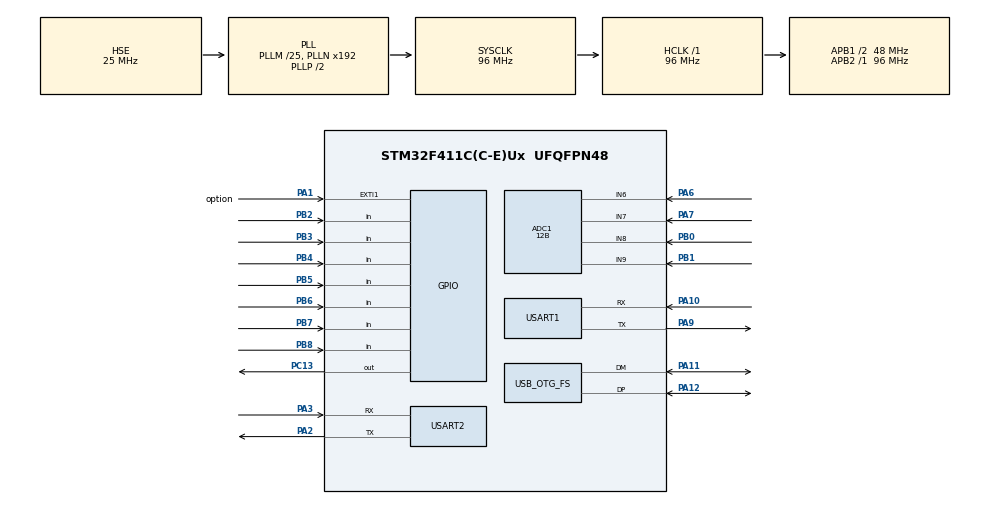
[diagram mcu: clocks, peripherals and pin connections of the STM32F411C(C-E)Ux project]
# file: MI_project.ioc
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ADC1.Channel-0\#ChannelRegularConversion=ADC_CHANNEL_9
ADC1.Channel-1\#ChannelRegularConversion=ADC_CHANNEL_8
ADC1.Channel-2\#ChannelRegularConversion=ADC_CHANNEL_6
ADC1.Channel-3\#ChannelRegularConversion=ADC_CHANNEL_7
ADC1.ContinuousConvMode=ENABLE
ADC1.DMAContinuousRequests=ENABLE
ADC1.EOCSelection=ADC_EOC_SEQ_CONV
ADC1.ExternalTrigConv=ADC_EXTERNALTRIGCONV_T3_TRGO
ADC1.NbrOfConversion=4
ADC1.NbrOfConversionFlag=1
ADC1.Rank-0\#ChannelRegularConversion=1
ADC1.Rank-1\#ChannelRegularConversion=2
ADC1.Rank-2\#ChannelRegularConversion=3
ADC1.Rank-3\#ChannelRegularConversion=4
ADC1.Resolution=ADC_RESOLUTION_12B
ADC1.SamplingTime-0\#ChannelRegularConversion=ADC_SAMPLETIME_84CYCLES
ADC1.SamplingTime-1\#ChannelRegularConversion=ADC_SAMPLETIME_84CYCLES
ADC1.SamplingTime-2\#ChannelRegularConversion=ADC_SAMPLETIME_84CYCLES
ADC1.SamplingTime-3\#ChannelRegularConversion=ADC_SAMPLETIME_84CYCLES
ADC1.master=1
Dma.ADC1.0.Direction=DMA_PERIPH_TO_MEMORY
Dma.ADC1.0.FIFOMode=DMA_FIFOMODE_DISABLE
Dma.ADC1.0.Instance=DMA2_Stream0
Dma.ADC1.0.MemDataAlignment=DMA_MDATAALIGN_HALFWORD
Dma.ADC1.0.MemInc=DMA_MINC_ENABLE
Dma.ADC1.0.Mode=DMA_CIRCULAR
Dma.ADC1.0.PeriphDataAlignment=DMA_PDATAALIGN_HALFWORD
Dma.ADC1.0.PeriphInc=DMA_PINC_DISABLE
Dma.ADC1.0.Priority=DMA_PRIORITY_MEDIUM
Dma.Request0=ADC1
Mcu.Family=STM32F4
Mcu.Name=STM32F411C(C-E)Ux
Mcu.Package=UFQFPN48
NVIC.ADC_IRQn=true\:0\:0\:false\:false\:true\:true\:true\:true
NVIC.DMA2_Stream0_IRQn=true\:0\:0\:false\:false\:true\:false\:true\:true
NVIC.EXTI1_IRQn=true\:0\:0\:false\:false\:true\:true\:true\:true
NVIC.OTG_FS_IRQn=true\:0\:0\:false\:false\:true\:false\:true\:true
NVIC.PriorityGroup=NVIC_PRIORITYGROUP_4
NVIC.TIM3_IRQn=true\:0\:0\:false\:false\:true\:true\:true\:true
PA1.GPIO_Label=option
PA1.GPIO_PuPd=GPIO_PULLUP
PA1.Signal=GPXTI1
PA10.Mode=Asynchronous
PA10.Signal=USART1_RX
PA11.Mode=Device_Only
PA11.Signal=USB_OTG_FS_DM
PA12.Mode=Device_Only
PA12.Signal=USB_OTG_FS_DP
PA13.Mode=Serial_Wire
PA13.Signal=SYS_JTMS-SWDIO
PA14.Mode=Serial_Wire
PA14.Signal=SYS_JTCK-SWCLK
PA2.Mode=Asynchronous
PA2.Signal=USART2_TX
PA3.Mode=Asynchronous
PA3.Signal=USART2_RX
PA6.Signal=ADCx_IN6
PA7.Signal=ADCx_IN7
PA9.Mode=Asynchronous
PA9.Signal=USART1_TX
PB0.Signal=ADCx_IN8
PB1.Signal=ADCx_IN9
PB2.GPIO_PuPd=GPIO_PULLUP
PB2.Signal=GPIO_Input
PB3.GPIO_PuPd=GPIO_PULLUP
PB3.Signal=GPIO_Input
PB4.GPIO_PuPd=GPIO_PULLUP
PB4.Signal=GPIO_Input
PB5.GPIO_PuPd=GPIO_PULLUP
PB5.Signal=GPIO_Input
PB6.GPIO_PuPd=GPIO_PULLUP
PB6.Signal=GPIO_Input
PB7.GPIO_PuPd=GPIO_PULLUP
PB7.Signal=GPIO_Input
PB8.GPIO_PuPd=GPIO_PULLUP
PB8.Signal=GPIO_Input
PC13-ANTI_TAMP.Signal=GPIO_Output
PH0\ -\ OSC_IN.Mode=HSE-External-Oscillator
PH0\ -\ OSC_IN.Signal=RCC_OSC_IN
PH1\ -\ OSC_OUT.Mode=HSE-External-Oscillator
PH1\ -\ OSC_OUT.Signal=RCC_OSC_OUT
ProjectManager.HeapSize=0x200
ProjectManager.StackSize=0x400
ProjectManager.TargetToolchain=STM32CubeIDE
RCC.48MHZClocksFreq_Value=48000000
RCC.AHBFreq_Value=96000000
RCC.APB1CLKDivider=RCC_HCLK_DIV2
RCC.APB1Freq_Value=48000000
RCC.APB1TimFreq_Value=96000000
RCC.APB2Freq_Value=96000000
RCC.APB2TimFreq_Value=96000000
RCC.CortexFreq_Value=96000000
RCC.HCLKFreq_Value=96000000
RCC.HSE_VALUE=25000000
RCC.HSI_VALUE=16000000
RCC.LSE_VALUE=32768
RCC.PLLM=25
RCC.SYSCLKFreq_VALUE=96000000
RCC.SYSCLKSource=RCC_SYSCLKSOURCE_PLLCLK
RCC.VCOOutputFreq_Value=192000000
SH.ADCx_IN6.0=ADC1_IN6,IN6
SH.ADCx_IN7.0=ADC1_IN7,IN7
SH.ADCx_IN8.0=ADC1_IN8,IN8
SH.ADCx_IN9.0=ADC1_IN9,IN9
TIM3.Period=99
TIM3.Prescaler=4799
TIM3.TIM_MasterOutputTrigger=TIM_TRGO_UPDATE
USART1.VirtualMode=VM_ASYNC
USART2.VirtualMode=VM_ASYNC
USB_DEVICE.CLASS_NAME_FS=CUSTOM_HID
USB_DEVICE.MANUFACTURER_STRING=Hassan Mef
USB_DEVICE.USBD_CUSTOMHID_OUTREPORT_BUF_SIZE=4
USB_DEVICE.USBD_CUSTOM_HID_REPORT_DESC_SIZE=54
USB_DEVICE.VirtualMode=CustomHid
USB_DEVICE.VirtualModeFS=Custom_Hid_FS
USB_OTG_FS.Sof_enable=ENABLE
USB_OTG_FS.VirtualMode=Device_Only
VP_TIM3_VS_ClockSourceINT.Mode=Internal
VP_USB_DEVICE_VS_USB_DEVICE_CUSTOM_HID_FS.Mode=CUSTOM_HID_FS
board=custom

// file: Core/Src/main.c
/* USER CODE BEGIN Header */
/**
  ******************************************************************************
  * @file           : main.c
  * @brief          : Main program body
  ******************************************************************************
  * @attention
  *
  * Copyright (c) 2025 STMicroelectronics.
  * All rights reserved.
  *
  * This software is licensed under terms that can be found in the LICENSE file
  * in the root directory of this software component.
  * If no LICENSE file comes with this software, it is provided AS-IS.
  *
  ******************************************************************************
  */
/* USER CODE END Header */
#include "main.h"
#include "usb_device.h"

/* USER CODE BEGIN Includes */
#include "usbd_custom_hid_if.h"
/* USER CODE END Includes */

/* USER CODE BEGIN PD */
#define DEAD_ZONE 200
/* USER CODE END PD */

ADC_HandleTypeDef hadc1;
DMA_HandleTypeDef hdma_adc1;

TIM_HandleTypeDef htim3;

UART_HandleTypeDef huart1;
UART_HandleTypeDef huart2;

/* USER CODE BEGIN PV */
uint16_t adcValues[4];
uint16_t center2_x, center2_y, center1_x, center1_y;

// ADC values
/* USER CODE BEGIN PV */
uint8_t buttons_state = 0;
uint16_t joy1_x = 0, joy1_y = 0, joy2_x = 0, joy2_y = 0;

/* USER CODE END PV */

void SystemClock_Config(void);
static void MX_GPIO_Init(void);
static void MX_DMA_Init(void);
static void MX_ADC1_Init(void);
static void MX_TIM3_Init(void);
static void MX_USART1_UART_Init(void);
static void MX_USART2_UART_Init(void);

int main(void)
{

  /* MCU Configuration--------------------------------------------------------*/

  /* Reset of all peripherals, Initializes the Flash interface and the Systick. */
  HAL_Init();

  /* Configure the system clock */
  SystemClock_Config();

  /* Initialize all configured peripherals */
  MX_GPIO_Init();
  MX_DMA_Init();
  MX_ADC1_Init();
  MX_USB_DEVICE_Init();
  MX_TIM3_Init();
  MX_USART1_UART_Init();
  MX_USART2_UART_Init();
  /* USER CODE BEGIN 2 */
  //HAL_ADC_Calibration_Start(&hadc1);

  HAL_ADC_Start_DMA(&hadc1, (uint32_t*)adcValues, 4);
  HAL_TIM_Base_Start_IT(&htim3);  // Start TIM3 with interrupt

 // Start ADC in DMA mode

   HAL_Delay(200); // Wait for stable readings

   // Auto-calibrate center
      center2_x = adcValues[0];
      center2_y = adcValues[1];
      center1_x = adcValues[2];
      center1_y = adcValues[3];

      extern UART_HandleTypeDef huart2;

      void SendGamepadDataUART(uint8_t* data, uint16_t len) {
          HAL_UART_Transmit(&huart2, data, len, HAL_MAX_DELAY);
      }

  /* USER CODE END 2 */

  /* Infinite loop */
  while (1)
  {

    /* USER CODE BEGIN 3 */
//
      uint8_t b2 = HAL_GPIO_ReadPin(GPIOB, GPIO_PIN_2);
      uint8_t b3 = HAL_GPIO_ReadPin(GPIOB, GPIO_PIN_3);
      uint8_t b4 = HAL_GPIO_ReadPin(GPIOB, GPIO_PIN_4);
      uint8_t b5 = HAL_GPIO_ReadPin(GPIOB, GPIO_PIN_5);
      uint8_t b6 = HAL_GPIO_ReadPin(GPIOB, GPIO_PIN_6);
      uint8_t b7 = HAL_GPIO_ReadPin(GPIOB, GPIO_PIN_7);
      uint8_t b8 = HAL_GPIO_ReadPin(GPIOB, GPIO_PIN_8);
      uint8_t b9 = HAL_GPIO_ReadPin(GPIOB, GPIO_PIN_9);
      uint8_t home= HAL_GPIO_ReadPin(GPIOA, GPIO_PIN_0);

      if ((home == GPIO_PIN_RESET) || (b2 == GPIO_PIN_RESET) || (b3 == GPIO_PIN_RESET) || (b4 == GPIO_PIN_RESET) || (b5 == GPIO_PIN_RESET) || (b6 == GPIO_PIN_RESET) || (b7 == GPIO_PIN_RESET) || (b8 == GPIO_PIN_RESET) || (b9 == GPIO_PIN_RESET))
      {
          HAL_GPIO_TogglePin(GPIOC, GPIO_PIN_13);
          HAL_Delay(50);
      }

      // Joystick1 controls on-board LED PC13
      if ((adcValues[2] > center1_x + DEAD_ZONE) || (adcValues[2] < center1_x - DEAD_ZONE)
       || (adcValues[3] > center1_y + DEAD_ZONE) || (adcValues[3] < center1_y - DEAD_ZONE))
      {
          HAL_GPIO_WritePin(GPIOC, GPIO_PIN_10, GPIO_PIN_RESET);
      }
      else
      {
          HAL_GPIO_WritePin(GPIOC, GPIO_PIN_10, GPIO_PIN_SET);
      }

      // Joystick2 drives external LED at PA9
      if ((adcValues[0] > center2_x + DEAD_ZONE) || (adcValues[0] < center2_x - DEAD_ZONE)
       || (adcValues[1] > center2_y + DEAD_ZONE) || (adcValues[1] < center2_y - DEAD_ZONE))
      {
          HAL_GPIO_WritePin(GPIOA, GPIO_PIN_10, GPIO_PIN_SET);
      }
      else
      {
          HAL_GPIO_WritePin(GPIOA, GPIO_PIN_10, GPIO_PIN_RESET);
      }

      Joystick_SendReport();
          HAL_Delay(50);

  }
  /* USER CODE END 3 */
}

void SystemClock_Config(void)
{
  RCC_OscInitTypeDef RCC_OscInitStruct = {0};
  RCC_ClkInitTypeDef RCC_ClkInitStruct = {0};

  /** Configure the main internal regulator output voltage
  */
  __HAL_RCC_PWR_CLK_ENABLE();
  __HAL_PWR_VOLTAGESCALING_CONFIG(PWR_REGULATOR_VOLTAGE_SCALE1);

  /** Initializes the RCC Oscillators according to the specified parameters
  * in the RCC_OscInitTypeDef structure.
  */
  RCC_OscInitStruct.OscillatorType = RCC_OSCILLATORTYPE_HSE;
  RCC_OscInitStruct.HSEState = RCC_HSE_ON;
  RCC_OscInitStruct.PLL.PLLState = RCC_PLL_ON;
  RCC_OscInitStruct.PLL.PLLSource = RCC_PLLSOURCE_HSE;
  RCC_OscInitStruct.PLL.PLLM = 25;
  RCC_OscInitStruct.PLL.PLLN = 192;
  RCC_OscInitStruct.PLL.PLLP = RCC_PLLP_DIV2;
  RCC_OscInitStruct.PLL.PLLQ = 4;
  if (HAL_RCC_OscConfig(&RCC_OscInitStruct) != HAL_OK)
  {
    Error_Handler();
  }

  /** Initializes the CPU, AHB and APB buses clocks
  */
  RCC_ClkInitStruct.ClockType = RCC_CLOCKTYPE_HCLK|RCC_CLOCKTYPE_SYSCLK
                              |RCC_CLOCKTYPE_PCLK1|RCC_CLOCKTYPE_PCLK2;
  RCC_ClkInitStruct.SYSCLKSource = RCC_SYSCLKSOURCE_PLLCLK;
  RCC_ClkInitStruct.AHBCLKDivider = RCC_SYSCLK_DIV1;
  RCC_ClkInitStruct.APB1CLKDivider = RCC_HCLK_DIV2;
  RCC_ClkInitStruct.APB2CLKDivider = RCC_HCLK_DIV1;

  if (HAL_RCC_ClockConfig(&RCC_ClkInitStruct, FLASH_LATENCY_3) != HAL_OK)
  {
    Error_Handler();
  }
}

static void MX_ADC1_Init(void)
{

  ADC_ChannelConfTypeDef sConfig = {0};

  /** Configure the global features of the ADC (Clock, Resolution, Data Alignment and number of conversion)
  */
  hadc1.Instance = ADC1;
  hadc1.Init.ClockPrescaler = ADC_CLOCK_SYNC_PCLK_DIV4;
  hadc1.Init.Resolution = ADC_RESOLUTION_12B;
  hadc1.Init.ScanConvMode = ENABLE;
  hadc1.Init.ContinuousConvMode = ENABLE;
  hadc1.Init.DiscontinuousConvMode = DISABLE;
  hadc1.Init.ExternalTrigConvEdge = ADC_EXTERNALTRIGCONVEDGE_RISING;
  hadc1.Init.ExternalTrigConv = ADC_EXTERNALTRIGCONV_T3_TRGO;
  hadc1.Init.DataAlign = ADC_DATAALIGN_RIGHT;
  hadc1.Init.NbrOfConversion = 4;
  hadc1.Init.DMAContinuousRequests = ENABLE;
  hadc1.Init.EOCSelection = ADC_EOC_SEQ_CONV;
  if (HAL_ADC_Init(&hadc1) != HAL_OK)
  {
    Error_Handler();
  }

  /** Configure for the selected ADC regular channel its corresponding rank in the sequencer and its sample time.
  */
  sConfig.Channel = ADC_CHANNEL_9;
  sConfig.Rank = 1;
  sConfig.SamplingTime = ADC_SAMPLETIME_84CYCLES;
  if (HAL_ADC_ConfigChannel(&hadc1, &sConfig) != HAL_OK)
  {
    Error_Handler();
  }

  /** Configure for the selected ADC regular channel its corresponding rank in the sequencer and its sample time.
  */
  sConfig.Channel = ADC_CHANNEL_8;
  sConfig.Rank = 2;
  if (HAL_ADC_ConfigChannel(&hadc1, &sConfig) != HAL_OK)
  {
    Error_Handler();
  }

  /** Configure for the selected ADC regular channel its corresponding rank in the sequencer and its sample time.
  */
  sConfig.Channel = ADC_CHANNEL_6;
  sConfig.Rank = 3;
  if (HAL_ADC_ConfigChannel(&hadc1, &sConfig) != HAL_OK)
  {
    Error_Handler();
  }

  /** Configure for the selected ADC regular channel its corresponding rank in the sequencer and its sample time.
  */
  sConfig.Channel = ADC_CHANNEL_7;
  sConfig.Rank = 4;
  if (HAL_ADC_ConfigChannel(&hadc1, &sConfig) != HAL_OK)
  {
    Error_Handler();
  }

}

static void MX_TIM3_Init(void)
{

  /* USER CODE BEGIN TIM3_Init 0 */
//
  /* USER CODE END TIM3_Init 0 */

  TIM_ClockConfigTypeDef sClockSourceConfig = {0};
  TIM_MasterConfigTypeDef sMasterConfig = {0};

  /* USER CODE BEGIN TIM3_Init 1 */
//
  /* USER CODE END TIM3_Init 1 */
  htim3.Instance = TIM3;
  htim3.Init.Prescaler = 4799;
  htim3.Init.CounterMode = TIM_COUNTERMODE_UP;
  htim3.Init.Period = 99;
  htim3.Init.ClockDivision = TIM_CLOCKDIVISION_DIV1;
  htim3.Init.AutoReloadPreload = TIM_AUTORELOAD_PRELOAD_DISABLE;
  if (HAL_TIM_Base_Init(&htim3) != HAL_OK)
  {
    Error_Handler();
  }
  sClockSourceConfig.ClockSource = TIM_CLOCKSOURCE_INTERNAL;
  if (HAL_TIM_ConfigClockSource(&htim3, &sClockSourceConfig) != HAL_OK)
  {
    Error_Handler();
  }
  sMasterConfig.MasterOutputTrigger = TIM_TRGO_UPDATE;
  sMasterConfig.MasterSlaveMode = TIM_MASTERSLAVEMODE_DISABLE;
  if (HAL_TIMEx_MasterConfigSynchronization(&htim3, &sMasterConfig) != HAL_OK)
  {
    Error_Handler();
  }
  /* USER CODE BEGIN TIM3_Init 2 */
//
  /* USER CODE END TIM3_Init 2 */

}

static void MX_USART1_UART_Init(void)
{

  huart1.Instance = USART1;
  huart1.Init.BaudRate = 115200;
  huart1.Init.WordLength = UART_WORDLENGTH_8B;
  huart1.Init.StopBits = UART_STOPBITS_1;
  huart1.Init.Parity = UART_PARITY_NONE;
  huart1.Init.Mode = UART_MODE_TX_RX;
  huart1.Init.HwFlowCtl = UART_HWCONTROL_NONE;
  huart1.Init.OverSampling = UART_OVERSAMPLING_16;
  if (HAL_UART_Init(&huart1) != HAL_OK)
  {
    Error_Handler();
  }

}

static void MX_USART2_UART_Init(void)
{

  huart2.Instance = USART2;
  huart2.Init.BaudRate = 115200;
  huart2.Init.WordLength = UART_WORDLENGTH_8B;
  huart2.Init.StopBits = UART_STOPBITS_1;
  huart2.Init.Parity = UART_PARITY_NONE;
  huart2.Init.Mode = UART_MODE_TX_RX;
  huart2.Init.HwFlowCtl = UART_HWCONTROL_NONE;
  huart2.Init.OverSampling = UART_OVERSAMPLING_16;
  if (HAL_UART_Init(&huart2) != HAL_OK)
  {
    Error_Handler();
  }

}

static void MX_DMA_Init(void)
{

  /* DMA controller clock enable */
  __HAL_RCC_DMA2_CLK_ENABLE();

  /* DMA interrupt init */
  /* DMA2_Stream0_IRQn interrupt configuration */
  HAL_NVIC_SetPriority(DMA2_Stream0_IRQn, 0, 0);
  HAL_NVIC_EnableIRQ(DMA2_Stream0_IRQn);

}

static void MX_GPIO_Init(void)
{
  GPIO_InitTypeDef GPIO_InitStruct = {0};

  /* GPIO Ports Clock Enable */
  __HAL_RCC_GPIOC_CLK_ENABLE();
  __HAL_RCC_GPIOH_CLK_ENABLE();
  __HAL_RCC_GPIOA_CLK_ENABLE();
  __HAL_RCC_GPIOB_CLK_ENABLE();

  /*Configure GPIO pin Output Level */
  HAL_GPIO_WritePin(GPIOC, GPIO_PIN_13, GPIO_PIN_RESET);

  /*Configure GPIO pin : PC13 */
  GPIO_InitStruct.Pin = GPIO_PIN_13;
  GPIO_InitStruct.Mode = GPIO_MODE_OUTPUT_PP;
  GPIO_InitStruct.Pull = GPIO_NOPULL;
  GPIO_InitStruct.Speed = GPIO_SPEED_FREQ_LOW;
  HAL_GPIO_Init(GPIOC, &GPIO_InitStruct);

  /*Configure GPIO pin : option_Pin */
  GPIO_InitStruct.Pin = option_Pin;
  GPIO_InitStruct.Mode = GPIO_MODE_IT_RISING;
  GPIO_InitStruct.Pull = GPIO_PULLUP;
  HAL_GPIO_Init(option_GPIO_Port, &GPIO_InitStruct);

  /*Configure GPIO pins : PB2 PB3 PB4 PB5
                           PB6 PB7 PB8 */
  GPIO_InitStruct.Pin = GPIO_PIN_2|GPIO_PIN_3|GPIO_PIN_4|GPIO_PIN_5
                          |GPIO_PIN_6|GPIO_PIN_7|GPIO_PIN_8;
  GPIO_InitStruct.Mode = GPIO_MODE_INPUT;
  GPIO_InitStruct.Pull = GPIO_PULLUP;
  HAL_GPIO_Init(GPIOB, &GPIO_InitStruct);

  /* EXTI interrupt init*/
  HAL_NVIC_SetPriority(EXTI1_IRQn, 0, 0);
  HAL_NVIC_EnableIRQ(EXTI1_IRQn);

}

/* USER CODE BEGIN 4 */
/* USER CODE BEGIN 4 */

void HAL_TIM_PeriodElapsedCallback(TIM_HandleTypeDef *htim)
{
    if (htim->Instance == TIM3)  // If TIM3 triggers this callback
    {
        Joystick_SendReport();  // Call your report function
    }
}

/* USER CODE END 4 */

void Error_Handler(void)
{
  __disable_irq();
  while (1)
  {
  }
}
